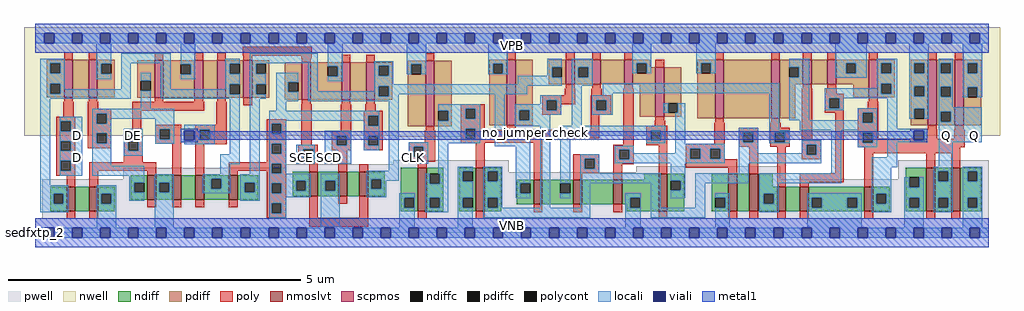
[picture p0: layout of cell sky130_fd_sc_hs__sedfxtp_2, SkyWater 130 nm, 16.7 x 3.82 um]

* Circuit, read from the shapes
.subckt sky130_fd_sc_hs__sedfxtp_2 CLK D DE SCD SCE VGND VNB VPB VPWR Q
XM1 n1 D n2 VNB sky130_fd_pr__nfet_01v8_lvt w=0.42 l=0.15
XM2 VGND DE n1 VNB sky130_fd_pr__nfet_01v8_lvt w=0.42 l=0.15
XM3 VGND DE n3 VNB sky130_fd_pr__nfet_01v8_lvt w=0.42 l=0.15
XM4 n4 n3 VGND VNB sky130_fd_pr__nfet_01v8_lvt w=0.42 l=0.15
XM5 n2 n5 n4 VNB sky130_fd_pr__nfet_01v8_lvt w=0.42 l=0.15
XM6 n6 n7 n2 VNB sky130_fd_pr__nfet_01v8_lvt w=0.42 l=0.15
XM7 VGND SCE n7 VNB sky130_fd_pr__nfet_01v8_lvt w=0.42 l=0.15
XM8 n8 SCD VGND VNB sky130_fd_pr__nfet_01v8_lvt w=0.42 l=0.15
XM9 n6 SCE n8 VNB sky130_fd_pr__nfet_01v8_lvt w=0.42 l=0.15
XM10 n9 CLK VGND VNB sky130_fd_pr__nfet_01v8_lvt w=0.74 l=0.15
XM11 n10 n9 VGND VNB sky130_fd_pr__nfet_01v8_lvt w=0.74 l=0.15
XM12 n11 n9 n6 VNB sky130_fd_pr__nfet_01v8_lvt w=0.42 l=0.15
XM13 n12 n10 n11 VNB sky130_fd_pr__nfet_01v8_lvt w=0.42 l=0.15
XM14 VGND n13 n12 VNB sky130_fd_pr__nfet_01v8_lvt w=0.42 l=0.15
XM15 n13 n11 VGND VNB sky130_fd_pr__nfet_01v8_lvt w=0.64 l=0.15
XM16 n14 n13 VGND VNB sky130_fd_pr__nfet_01v8_lvt w=0.64 l=0.15
XM17 n15 n10 n14 VNB sky130_fd_pr__nfet_01v8_lvt w=0.64 l=0.15
XM18 n16 n9 n15 VNB sky130_fd_pr__nfet_01v8_lvt w=0.42 l=0.15
XM19 VGND n5 n16 VNB sky130_fd_pr__nfet_01v8_lvt w=0.42 l=0.15
XM20 n5 n15 VGND VNB sky130_fd_pr__nfet_01v8_lvt w=0.42 l=0.15
XM21 Q n15 VGND VNB sky130_fd_pr__nfet_01v8_lvt w=0.74 l=0.15 m=2
XM22 n17 D n2 VPB sky130_fd_pr__pfet_01v8 w=0.64 l=0.15
XM23 VPWR n3 n17 VPB sky130_fd_pr__pfet_01v8 w=0.64 l=0.15
XM24 VPWR DE n3 VPB sky130_fd_pr__pfet_01v8 w=0.64 l=0.15
XM25 n18 DE VPWR VPB sky130_fd_pr__pfet_01v8 w=0.64 l=0.15
XM26 n2 n5 n18 VPB sky130_fd_pr__pfet_01v8 w=0.64 l=0.15
XM27 n6 SCE n2 VPB sky130_fd_pr__pfet_01v8 w=0.64 l=0.15
XM28 VPWR SCE n7 VPB sky130_fd_pr__pfet_01v8 w=0.64 l=0.15
XM29 n19 SCD VPWR VPB sky130_fd_pr__pfet_01v8 w=0.64 l=0.15
XM30 n6 n7 n19 VPB sky130_fd_pr__pfet_01v8 w=0.64 l=0.15
XM31 n9 CLK VPWR VPB sky130_fd_pr__pfet_01v8 w=1.12 l=0.15
XM32 n10 n9 VPWR VPB sky130_fd_pr__pfet_01v8 w=1.12 l=0.15
XM33 n11 n10 n6 VPB sky130_fd_pr__pfet_01v8 w=0.42 l=0.15
XM34 n20 n9 n11 VPB sky130_fd_pr__pfet_01v8 w=0.42 l=0.15
XM35 VPWR n13 n20 VPB sky130_fd_pr__pfet_01v8 w=0.42 l=0.15
XM36 n13 n11 VPWR VPB sky130_fd_pr__pfet_01v8 w=0.84 l=0.15
XM37 n21 n13 VPWR VPB sky130_fd_pr__pfet_01v8 w=1 l=0.15
XM38 n15 n9 n21 VPB sky130_fd_pr__pfet_01v8 w=1 l=0.15
XM39 n22 n10 n15 VPB sky130_fd_pr__pfet_01v8 w=0.42 l=0.15
XM40 VPWR n5 n22 VPB sky130_fd_pr__pfet_01v8 w=0.42 l=0.15
XM41 n5 n15 VPWR VPB sky130_fd_pr__pfet_01v8 w=0.64 l=0.15
XM42 Q n15 VPWR VPB sky130_fd_pr__pfet_01v8 w=1.12 l=0.15 m=2
.ends

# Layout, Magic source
magic
tech sky130A
magscale 1 2
<< nwell >>
rect -38 332 3302 704
rect 1240 328 1461 332
<< pwell >>
rect 1225 235 1621 248
rect 855 223 1621 235
rect 301 207 1621 223
rect 2058 207 2550 228
rect 301 184 2550 207
rect 2953 184 3263 248
rect 25 49 3263 184
rect 0 0 3264 49
<< scpmos >>
rect 99 464 129 592
rect 183 464 213 592
rect 409 463 439 591
rect 545 463 575 591
rect 623 463 653 591
rect 713 463 743 591
rect 913 455 943 583
rect 1049 455 1079 583
rect 1133 455 1163 583
rect 1336 364 1366 588
rect 1614 368 1644 592
rect 1816 508 1846 592
rect 1906 508 1936 592
rect 2016 508 2046 592
rect 2123 398 2153 566
rect 2327 392 2357 592
rect 2519 392 2549 592
rect 2627 508 2657 592
rect 2711 508 2741 592
rect 2853 464 2883 592
rect 3055 368 3085 592
rect 3148 368 3178 592
<< nmoslvt >>
rect 108 74 138 158
rect 186 74 216 158
rect 384 113 414 197
rect 470 113 500 197
rect 548 113 578 197
rect 663 113 693 197
rect 938 125 968 209
rect 1038 125 1068 209
rect 1110 125 1140 209
rect 1310 74 1340 222
rect 1508 74 1538 222
rect 1706 97 1736 181
rect 1842 97 1872 181
rect 1979 97 2009 181
rect 2134 74 2164 202
rect 2372 74 2402 202
rect 2444 74 2474 202
rect 2539 74 2569 158
rect 2617 74 2647 158
rect 2838 74 2868 158
rect 3050 74 3080 222
rect 3136 74 3166 222
<< ndiff >>
rect 327 172 384 197
rect 51 133 108 158
rect 51 99 63 133
rect 97 99 108 133
rect 51 74 108 99
rect 138 74 186 158
rect 216 133 273 158
rect 216 99 227 133
rect 261 99 273 133
rect 327 138 339 172
rect 373 138 384 172
rect 327 113 384 138
rect 414 172 470 197
rect 414 138 425 172
rect 459 138 470 172
rect 414 113 470 138
rect 500 113 548 197
rect 578 185 663 197
rect 578 151 603 185
rect 637 151 663 185
rect 578 113 663 151
rect 693 172 764 197
rect 693 138 718 172
rect 752 138 764 172
rect 693 113 764 138
rect 216 74 273 99
rect 881 178 938 209
rect 881 144 893 178
rect 927 144 938 178
rect 881 125 938 144
rect 968 178 1038 209
rect 968 144 993 178
rect 1027 144 1038 178
rect 968 125 1038 144
rect 1068 125 1110 209
rect 1140 184 1197 209
rect 1140 150 1151 184
rect 1185 150 1197 184
rect 1140 125 1197 150
rect 1251 120 1310 222
rect 1251 86 1264 120
rect 1298 86 1310 120
rect 1251 74 1310 86
rect 1340 202 1397 222
rect 1340 168 1351 202
rect 1385 168 1397 202
rect 1340 120 1397 168
rect 1340 86 1351 120
rect 1385 86 1397 120
rect 1340 74 1397 86
rect 1451 210 1508 222
rect 1451 176 1463 210
rect 1497 176 1508 210
rect 1451 120 1508 176
rect 1451 86 1463 120
rect 1497 86 1508 120
rect 1451 74 1508 86
rect 1538 210 1595 222
rect 1538 176 1549 210
rect 1583 176 1595 210
rect 2084 181 2134 202
rect 1538 120 1595 176
rect 1538 86 1549 120
rect 1583 86 1595 120
rect 1649 169 1706 181
rect 1649 135 1661 169
rect 1695 135 1706 169
rect 1649 97 1706 135
rect 1736 169 1842 181
rect 1736 135 1797 169
rect 1831 135 1842 169
rect 1736 97 1842 135
rect 1872 97 1979 181
rect 2009 120 2134 181
rect 2009 97 2037 120
rect 1538 74 1595 86
rect 2024 86 2037 97
rect 2071 86 2134 120
rect 2024 74 2134 86
rect 2164 179 2221 202
rect 2164 145 2175 179
rect 2209 145 2221 179
rect 2164 74 2221 145
rect 2315 120 2372 202
rect 2315 86 2327 120
rect 2361 86 2372 120
rect 2315 74 2372 86
rect 2402 74 2444 202
rect 2474 158 2524 202
rect 2979 190 3050 222
rect 2474 133 2539 158
rect 2474 99 2494 133
rect 2528 99 2539 133
rect 2474 74 2539 99
rect 2569 74 2617 158
rect 2647 120 2838 158
rect 2647 86 2658 120
rect 2692 86 2779 120
rect 2813 86 2838 120
rect 2647 74 2838 86
rect 2868 133 2925 158
rect 2868 99 2879 133
rect 2913 99 2925 133
rect 2868 74 2925 99
rect 2979 156 2991 190
rect 3025 156 3050 190
rect 2979 120 3050 156
rect 2979 86 2991 120
rect 3025 86 3050 120
rect 2979 74 3050 86
rect 3080 210 3136 222
rect 3080 176 3091 210
rect 3125 176 3136 210
rect 3080 120 3136 176
rect 3080 86 3091 120
rect 3125 86 3136 120
rect 3080 74 3136 86
rect 3166 210 3237 222
rect 3166 176 3191 210
rect 3225 176 3237 210
rect 3166 120 3237 176
rect 3166 86 3191 120
rect 3225 86 3237 120
rect 3166 74 3237 86
<< pdiff >>
rect 40 580 99 592
rect 40 546 52 580
rect 86 546 99 580
rect 40 510 99 546
rect 40 476 52 510
rect 86 476 99 510
rect 40 464 99 476
rect 129 464 183 592
rect 213 578 272 592
rect 213 544 226 578
rect 260 544 272 578
rect 213 464 272 544
rect 350 520 409 591
rect 350 486 362 520
rect 396 486 409 520
rect 350 463 409 486
rect 439 577 545 591
rect 439 543 498 577
rect 532 543 545 577
rect 439 463 545 543
rect 575 463 623 591
rect 653 579 713 591
rect 653 545 666 579
rect 700 545 713 579
rect 653 509 713 545
rect 653 475 666 509
rect 700 475 713 509
rect 653 463 713 475
rect 743 579 801 591
rect 743 545 756 579
rect 790 545 801 579
rect 743 509 801 545
rect 743 475 756 509
rect 790 475 801 509
rect 743 463 801 475
rect 855 516 913 583
rect 855 482 866 516
rect 900 482 913 516
rect 855 455 913 482
rect 943 570 1049 583
rect 943 536 1002 570
rect 1036 536 1049 570
rect 943 455 1049 536
rect 1079 455 1133 583
rect 1163 571 1222 583
rect 1163 537 1176 571
rect 1210 537 1222 571
rect 1163 501 1222 537
rect 1163 467 1176 501
rect 1210 467 1222 501
rect 1163 455 1222 467
rect 1276 576 1336 588
rect 1276 542 1288 576
rect 1322 542 1336 576
rect 1276 364 1336 542
rect 1366 417 1425 588
rect 1555 578 1614 592
rect 1555 544 1567 578
rect 1601 544 1614 578
rect 1366 383 1379 417
rect 1413 383 1425 417
rect 1366 364 1425 383
rect 1555 368 1614 544
rect 1644 419 1703 592
rect 1757 567 1816 592
rect 1757 533 1769 567
rect 1803 533 1816 567
rect 1757 508 1816 533
rect 1846 567 1906 592
rect 1846 533 1859 567
rect 1893 533 1906 567
rect 1846 508 1906 533
rect 1936 508 2016 592
rect 2046 580 2105 592
rect 2046 546 2059 580
rect 2093 566 2105 580
rect 2266 580 2327 592
rect 2093 546 2123 566
rect 2046 508 2123 546
rect 1644 385 1657 419
rect 1691 385 1703 419
rect 1644 368 1703 385
rect 2070 398 2123 508
rect 2153 444 2212 566
rect 2153 410 2166 444
rect 2200 410 2212 444
rect 2153 398 2212 410
rect 2266 546 2279 580
rect 2313 546 2327 580
rect 2266 392 2327 546
rect 2357 392 2519 592
rect 2549 567 2627 592
rect 2549 533 2580 567
rect 2614 533 2627 567
rect 2549 508 2627 533
rect 2657 508 2711 592
rect 2741 580 2853 592
rect 2741 546 2775 580
rect 2809 546 2853 580
rect 2741 508 2853 546
rect 2549 392 2602 508
rect 2800 464 2853 508
rect 2883 580 2942 592
rect 2883 546 2896 580
rect 2930 546 2942 580
rect 2883 510 2942 546
rect 2883 476 2896 510
rect 2930 476 2942 510
rect 2883 464 2942 476
rect 2996 580 3055 592
rect 2996 546 3008 580
rect 3042 546 3055 580
rect 2996 501 3055 546
rect 2996 467 3008 501
rect 3042 467 3055 501
rect 2996 424 3055 467
rect 2996 390 3008 424
rect 3042 390 3055 424
rect 2996 368 3055 390
rect 3085 580 3148 592
rect 3085 546 3099 580
rect 3133 546 3148 580
rect 3085 499 3148 546
rect 3085 465 3099 499
rect 3133 465 3148 499
rect 3085 414 3148 465
rect 3085 380 3099 414
rect 3133 380 3148 414
rect 3085 368 3148 380
rect 3178 580 3237 592
rect 3178 546 3191 580
rect 3225 546 3237 580
rect 3178 498 3237 546
rect 3178 464 3191 498
rect 3225 464 3237 498
rect 3178 368 3237 464
<< ndiffc >>
rect 63 99 97 133
rect 227 99 261 133
rect 339 138 373 172
rect 425 138 459 172
rect 603 151 637 185
rect 718 138 752 172
rect 893 144 927 178
rect 993 144 1027 178
rect 1151 150 1185 184
rect 1264 86 1298 120
rect 1351 168 1385 202
rect 1351 86 1385 120
rect 1463 176 1497 210
rect 1463 86 1497 120
rect 1549 176 1583 210
rect 1549 86 1583 120
rect 1661 135 1695 169
rect 1797 135 1831 169
rect 2037 86 2071 120
rect 2175 145 2209 179
rect 2327 86 2361 120
rect 2494 99 2528 133
rect 2658 86 2692 120
rect 2779 86 2813 120
rect 2879 99 2913 133
rect 2991 156 3025 190
rect 2991 86 3025 120
rect 3091 176 3125 210
rect 3091 86 3125 120
rect 3191 176 3225 210
rect 3191 86 3225 120
<< pdiffc >>
rect 52 546 86 580
rect 52 476 86 510
rect 226 544 260 578
rect 362 486 396 520
rect 498 543 532 577
rect 666 545 700 579
rect 666 475 700 509
rect 756 545 790 579
rect 756 475 790 509
rect 866 482 900 516
rect 1002 536 1036 570
rect 1176 537 1210 571
rect 1176 467 1210 501
rect 1288 542 1322 576
rect 1567 544 1601 578
rect 1379 383 1413 417
rect 1769 533 1803 567
rect 1859 533 1893 567
rect 2059 546 2093 580
rect 1657 385 1691 419
rect 2166 410 2200 444
rect 2279 546 2313 580
rect 2580 533 2614 567
rect 2775 546 2809 580
rect 2896 546 2930 580
rect 2896 476 2930 510
rect 3008 546 3042 580
rect 3008 467 3042 501
rect 3008 390 3042 424
rect 3099 546 3133 580
rect 3099 465 3133 499
rect 3099 380 3133 414
rect 3191 546 3225 580
rect 3191 464 3225 498
<< poly >>
rect 99 592 129 618
rect 183 592 213 618
rect 409 591 439 617
rect 545 591 575 617
rect 623 591 653 617
rect 710 606 946 636
rect 713 591 743 606
rect 910 598 946 606
rect 99 449 129 464
rect 183 449 213 464
rect 913 583 943 598
rect 1049 583 1079 609
rect 1133 583 1163 609
rect 1336 588 1366 614
rect 1614 592 1644 618
rect 1816 592 1846 618
rect 1906 592 1936 618
rect 2016 592 2046 618
rect 2327 592 2357 618
rect 2519 592 2549 618
rect 2627 592 2657 618
rect 2711 592 2741 618
rect 2853 592 2883 618
rect 3055 592 3085 618
rect 3148 592 3178 618
rect 96 398 132 449
rect 180 424 216 449
rect 409 448 439 463
rect 545 448 575 463
rect 623 448 653 463
rect 180 408 261 424
rect 72 382 138 398
rect 72 348 88 382
rect 122 348 138 382
rect 72 314 138 348
rect 72 280 88 314
rect 122 280 138 314
rect 180 374 211 408
rect 245 374 261 408
rect 180 340 261 374
rect 180 306 211 340
rect 245 306 261 340
rect 333 418 578 448
rect 333 330 363 418
rect 411 354 500 370
rect 620 369 656 448
rect 713 437 743 463
rect 913 440 943 455
rect 1049 440 1079 455
rect 1133 440 1163 455
rect 180 290 261 306
rect 303 314 369 330
rect 72 246 138 280
rect 72 212 88 246
rect 122 212 138 246
rect 303 280 319 314
rect 353 280 369 314
rect 411 320 427 354
rect 461 320 500 354
rect 411 304 500 320
rect 303 242 369 280
rect 72 196 138 212
rect 108 158 138 196
rect 186 212 414 242
rect 186 158 216 212
rect 384 197 414 212
rect 470 197 500 304
rect 548 353 656 369
rect 548 319 564 353
rect 598 319 656 353
rect 548 303 656 319
rect 793 373 859 389
rect 793 339 809 373
rect 843 339 859 373
rect 793 305 859 339
rect 548 197 578 303
rect 793 271 809 305
rect 843 271 859 305
rect 910 302 946 440
rect 1046 349 1082 440
rect 1130 417 1166 440
rect 1016 333 1082 349
rect 793 242 859 271
rect 663 237 859 242
rect 663 212 809 237
rect 663 197 693 212
rect 793 203 809 212
rect 843 203 859 237
rect 901 286 968 302
rect 901 252 917 286
rect 951 252 968 286
rect 1016 299 1032 333
rect 1066 299 1082 333
rect 1016 283 1082 299
rect 1124 401 1190 417
rect 1124 367 1140 401
rect 1174 367 1190 401
rect 1124 333 1190 367
rect 1457 424 1538 440
rect 1457 390 1473 424
rect 1507 390 1538 424
rect 1336 349 1366 364
rect 1457 356 1538 390
rect 2123 566 2153 592
rect 1816 493 1846 508
rect 1906 493 1936 508
rect 2016 493 2046 508
rect 1813 470 1849 493
rect 1903 470 1939 493
rect 1735 454 1849 470
rect 1735 420 1751 454
rect 1785 440 1849 454
rect 1901 454 1971 470
rect 1785 420 1801 440
rect 1735 404 1801 420
rect 1901 420 1921 454
rect 1955 420 1971 454
rect 1901 404 1971 420
rect 1124 299 1140 333
rect 1174 299 1190 333
rect 1333 310 1369 349
rect 1124 283 1190 299
rect 1279 294 1369 310
rect 1457 322 1473 356
rect 1507 353 1538 356
rect 1614 353 1644 368
rect 1901 353 1931 404
rect 1507 323 1931 353
rect 1507 322 1736 323
rect 1457 309 1736 322
rect 1457 306 1538 309
rect 901 236 968 252
rect 938 209 968 236
rect 1038 209 1068 283
rect 1279 260 1295 294
rect 1329 260 1369 294
rect 1279 244 1369 260
rect 1110 209 1140 235
rect 1310 222 1340 244
rect 1508 222 1538 306
rect 793 169 859 203
rect 793 135 809 169
rect 843 135 859 169
rect 384 87 414 113
rect 470 87 500 113
rect 548 87 578 113
rect 663 87 693 113
rect 793 101 859 135
rect 108 48 138 74
rect 186 48 216 74
rect 793 67 809 101
rect 843 67 859 101
rect 793 51 859 67
rect 938 51 968 125
rect 1038 99 1068 125
rect 1110 51 1140 125
rect 1706 181 1736 309
rect 2013 301 2049 493
rect 2123 383 2153 398
rect 2627 493 2657 508
rect 2711 493 2741 508
rect 2120 366 2156 383
rect 2327 377 2357 392
rect 2519 377 2549 392
rect 1979 285 2049 301
rect 2091 350 2164 366
rect 2091 316 2107 350
rect 2141 316 2164 350
rect 2091 300 2164 316
rect 2324 304 2360 377
rect 2516 360 2552 377
rect 1842 253 1931 269
rect 1842 219 1881 253
rect 1915 219 1931 253
rect 1842 203 1931 219
rect 1979 251 1999 285
rect 2033 251 2049 285
rect 1979 235 2049 251
rect 1842 181 1872 203
rect 1979 181 2009 235
rect 2134 202 2164 300
rect 2226 288 2360 304
rect 2408 344 2474 360
rect 2408 310 2424 344
rect 2458 310 2474 344
rect 2408 294 2474 310
rect 2516 344 2582 360
rect 2516 310 2532 344
rect 2566 310 2582 344
rect 2516 294 2582 310
rect 2624 317 2660 493
rect 2708 476 2744 493
rect 2702 460 2768 476
rect 2702 426 2718 460
rect 2752 426 2768 460
rect 2853 449 2883 464
rect 2850 426 2886 449
rect 2702 410 2768 426
rect 2624 301 2690 317
rect 2226 254 2242 288
rect 2276 254 2310 288
rect 2344 254 2360 288
rect 2226 252 2360 254
rect 2226 222 2402 252
rect 2372 202 2402 222
rect 2444 202 2474 294
rect 938 21 1140 51
rect 1310 48 1340 74
rect 1508 48 1538 74
rect 1706 71 1736 97
rect 1842 71 1872 97
rect 1979 71 2009 97
rect 2539 158 2569 294
rect 2624 267 2640 301
rect 2674 267 2690 301
rect 2624 251 2690 267
rect 2738 203 2768 410
rect 2816 410 2886 426
rect 2816 376 2832 410
rect 2866 376 2886 410
rect 2816 342 2886 376
rect 3055 353 3085 368
rect 3148 353 3178 368
rect 2816 308 2832 342
rect 2866 322 2886 342
rect 3052 322 3088 353
rect 3145 322 3181 353
rect 2866 308 3181 322
rect 2816 292 3181 308
rect 2617 173 2768 203
rect 2838 272 3166 292
rect 2617 158 2647 173
rect 2838 158 2868 272
rect 3050 222 3080 272
rect 3136 222 3166 272
rect 2134 48 2164 74
rect 2372 48 2402 74
rect 2444 48 2474 74
rect 2539 48 2569 74
rect 2617 48 2647 74
rect 2838 48 2868 74
rect 3050 48 3080 74
rect 3136 48 3166 74
<< polycont >>
rect 88 348 122 382
rect 88 280 122 314
rect 211 374 245 408
rect 211 306 245 340
rect 88 212 122 246
rect 319 280 353 314
rect 427 320 461 354
rect 564 319 598 353
rect 809 339 843 373
rect 809 271 843 305
rect 809 203 843 237
rect 917 252 951 286
rect 1032 299 1066 333
rect 1140 367 1174 401
rect 1473 390 1507 424
rect 1751 420 1785 454
rect 1921 420 1955 454
rect 1140 299 1174 333
rect 1473 322 1507 356
rect 1295 260 1329 294
rect 809 135 843 169
rect 809 67 843 101
rect 2107 316 2141 350
rect 1881 219 1915 253
rect 1999 251 2033 285
rect 2424 310 2458 344
rect 2532 310 2566 344
rect 2718 426 2752 460
rect 2242 254 2276 288
rect 2310 254 2344 288
rect 2640 267 2674 301
rect 2832 376 2866 410
rect 2832 308 2866 342
<< locali >>
rect 0 649 31 683
rect 65 649 127 683
rect 161 649 223 683
rect 257 649 319 683
rect 353 649 415 683
rect 449 649 511 683
rect 545 649 607 683
rect 641 649 703 683
rect 737 649 799 683
rect 833 649 895 683
rect 929 649 991 683
rect 1025 649 1087 683
rect 1121 649 1183 683
rect 1217 649 1279 683
rect 1313 649 1375 683
rect 1409 649 1471 683
rect 1505 649 1567 683
rect 1601 649 1663 683
rect 1697 649 1759 683
rect 1793 649 1855 683
rect 1889 649 1951 683
rect 1985 649 2047 683
rect 2081 649 2143 683
rect 2177 649 2239 683
rect 2273 649 2335 683
rect 2369 649 2431 683
rect 2465 649 2527 683
rect 2561 649 2623 683
rect 2657 649 2719 683
rect 2753 649 2815 683
rect 2849 649 2911 683
rect 2945 649 3007 683
rect 3041 649 3103 683
rect 3137 649 3199 683
rect 3233 649 3264 683
rect 17 580 102 596
rect 17 546 52 580
rect 86 546 102 580
rect 17 510 102 546
rect 210 578 260 649
rect 210 544 226 578
rect 210 526 260 544
rect 294 581 464 615
rect 17 476 52 510
rect 86 492 102 510
rect 294 492 328 581
rect 86 476 328 492
rect 17 458 328 476
rect 362 520 396 547
rect 17 162 51 458
rect 362 424 396 486
rect 430 492 464 581
rect 498 577 548 649
rect 532 543 548 577
rect 498 526 548 543
rect 650 579 700 595
rect 650 545 666 579
rect 650 509 700 545
rect 650 492 666 509
rect 430 475 666 492
rect 430 458 700 475
rect 195 408 477 424
rect 85 382 161 398
rect 85 348 88 382
rect 122 348 161 382
rect 85 314 161 348
rect 85 280 88 314
rect 122 280 161 314
rect 85 246 161 280
rect 85 212 88 246
rect 122 212 161 246
rect 85 196 161 212
rect 195 374 211 408
rect 245 390 477 408
rect 245 374 261 390
rect 195 340 261 374
rect 195 306 211 340
rect 245 306 261 340
rect 195 230 261 306
rect 303 314 369 356
rect 303 280 319 314
rect 353 280 369 314
rect 411 354 477 390
rect 411 320 427 354
rect 461 320 477 354
rect 411 304 477 320
rect 511 353 614 369
rect 511 350 564 353
rect 545 319 564 350
rect 598 319 614 353
rect 545 316 614 319
rect 511 303 614 316
rect 303 264 369 280
rect 666 269 700 458
rect 634 235 700 269
rect 734 581 968 615
rect 734 579 790 581
rect 734 545 756 579
rect 734 509 790 545
rect 734 475 756 509
rect 734 459 790 475
rect 825 516 900 547
rect 825 482 866 516
rect 195 196 373 230
rect 634 201 668 235
rect 734 201 768 459
rect 825 451 900 482
rect 934 485 968 581
rect 1002 570 1052 649
rect 1036 536 1052 570
rect 1002 519 1052 536
rect 1160 571 1226 587
rect 1160 537 1176 571
rect 1210 537 1226 571
rect 1272 576 1339 649
rect 1272 542 1288 576
rect 1322 542 1339 576
rect 1551 578 1617 649
rect 1551 544 1567 578
rect 1601 544 1617 578
rect 1551 542 1617 544
rect 1753 567 1803 596
rect 1753 538 1769 567
rect 1160 508 1226 537
rect 1651 533 1769 538
rect 1651 508 1803 533
rect 1160 504 1803 508
rect 1837 567 1909 596
rect 1837 533 1859 567
rect 1893 533 1909 567
rect 2043 580 2109 649
rect 2043 546 2059 580
rect 2093 546 2109 580
rect 2262 580 2330 649
rect 2262 546 2279 580
rect 2313 546 2330 580
rect 2580 567 2650 596
rect 1837 504 1909 533
rect 2614 533 2650 567
rect 1160 501 1685 504
rect 1160 485 1176 501
rect 934 467 1176 485
rect 1210 474 1685 501
rect 1210 467 1245 474
rect 934 451 1245 467
rect 825 417 859 451
rect 323 172 373 196
rect 17 133 113 162
rect 17 99 63 133
rect 97 99 113 133
rect 17 70 113 99
rect 211 133 277 162
rect 211 99 227 133
rect 261 99 277 133
rect 323 138 339 172
rect 323 109 373 138
rect 409 172 475 201
rect 409 138 425 172
rect 459 138 475 172
rect 211 17 277 99
rect 409 17 475 138
rect 573 185 668 201
rect 573 151 603 185
rect 637 151 668 185
rect 573 135 668 151
rect 702 172 768 201
rect 702 138 718 172
rect 752 138 768 172
rect 702 109 768 138
rect 802 401 1177 417
rect 802 383 1140 401
rect 802 373 859 383
rect 802 339 809 373
rect 843 339 859 373
rect 1124 367 1140 383
rect 1174 367 1177 401
rect 802 305 859 339
rect 802 271 809 305
rect 843 271 859 305
rect 991 333 1082 349
rect 802 237 859 271
rect 802 203 809 237
rect 843 203 859 237
rect 893 286 957 302
rect 893 252 917 286
rect 951 252 957 286
rect 893 236 957 252
rect 991 299 1032 333
rect 1066 299 1082 333
rect 991 236 1082 299
rect 1124 333 1177 367
rect 1124 299 1140 333
rect 1174 299 1177 333
rect 1124 283 1177 299
rect 1211 213 1245 451
rect 1379 424 1523 440
rect 1379 417 1473 424
rect 1413 390 1473 417
rect 1507 390 1523 424
rect 1413 383 1523 390
rect 1379 356 1523 383
rect 1379 322 1473 356
rect 1507 322 1523 356
rect 1279 294 1345 310
rect 1279 260 1295 294
rect 1329 260 1345 294
rect 1279 236 1345 260
rect 1379 306 1523 322
rect 1573 330 1607 474
rect 1729 454 1801 470
rect 1729 440 1751 454
rect 1641 420 1751 440
rect 1785 420 1801 454
rect 1641 419 1801 420
rect 1641 385 1657 419
rect 1691 404 1801 419
rect 1691 385 1763 404
rect 1641 364 1763 385
rect 1837 366 1871 504
rect 1943 478 2546 512
rect 1943 470 1977 478
rect 1905 454 1977 470
rect 1905 420 1921 454
rect 1955 420 1977 454
rect 1905 404 1977 420
rect 2150 410 2166 444
rect 2200 410 2225 444
rect 802 202 859 203
rect 802 178 943 202
rect 802 169 893 178
rect 802 135 809 169
rect 843 144 893 169
rect 927 144 943 178
rect 843 135 943 144
rect 802 121 943 135
rect 977 178 1043 202
rect 977 144 993 178
rect 1027 144 1043 178
rect 802 101 859 121
rect 802 67 809 101
rect 843 67 859 101
rect 802 51 859 67
rect 977 17 1043 144
rect 1135 184 1245 213
rect 1379 202 1413 306
rect 1573 296 1695 330
rect 1135 150 1151 184
rect 1185 179 1245 184
rect 1185 150 1201 179
rect 1135 121 1201 150
rect 1335 168 1351 202
rect 1385 168 1413 202
rect 1247 120 1299 136
rect 1247 86 1264 120
rect 1298 86 1299 120
rect 1247 17 1299 86
rect 1335 120 1413 168
rect 1335 86 1351 120
rect 1385 86 1413 120
rect 1335 70 1413 86
rect 1447 210 1497 226
rect 1447 176 1463 210
rect 1447 120 1497 176
rect 1447 86 1463 120
rect 1447 17 1497 86
rect 1533 210 1599 226
rect 1533 176 1549 210
rect 1583 176 1599 210
rect 1533 120 1599 176
rect 1533 86 1549 120
rect 1583 86 1599 120
rect 1645 169 1695 296
rect 1645 135 1661 169
rect 1645 119 1695 135
rect 1533 85 1599 86
rect 1729 85 1763 364
rect 1797 350 2157 366
rect 1797 332 2107 350
rect 1797 169 1831 332
rect 2091 316 2107 332
rect 2141 316 2157 350
rect 2091 306 2157 316
rect 2191 304 2225 410
rect 2408 344 2474 360
rect 2408 310 2424 344
rect 2458 310 2474 344
rect 1983 285 2049 298
rect 1797 119 1831 135
rect 1865 253 1931 269
rect 1865 219 1881 253
rect 1915 219 1931 253
rect 1983 251 1999 285
rect 2033 272 2049 285
rect 2191 288 2360 304
rect 2191 272 2242 288
rect 2033 254 2242 272
rect 2276 254 2310 288
rect 2344 254 2360 288
rect 2033 251 2360 254
rect 1983 238 2360 251
rect 2408 272 2474 310
rect 2512 351 2546 478
rect 2580 385 2650 533
rect 2738 580 2846 649
rect 2738 546 2775 580
rect 2809 546 2846 580
rect 2738 530 2846 546
rect 2880 580 2950 596
rect 2880 546 2896 580
rect 2930 546 2950 580
rect 2880 510 2950 546
rect 2880 494 2896 510
rect 2702 476 2896 494
rect 2930 476 2950 510
rect 2702 460 2950 476
rect 2702 426 2718 460
rect 2752 426 2768 460
rect 2702 419 2768 426
rect 2816 410 2882 426
rect 2816 385 2832 410
rect 2616 376 2832 385
rect 2866 376 2882 410
rect 2616 351 2882 376
rect 2512 344 2582 351
rect 2512 310 2532 344
rect 2566 310 2582 344
rect 2512 306 2582 310
rect 2624 301 2690 317
rect 2624 272 2640 301
rect 2408 267 2640 272
rect 2674 267 2690 301
rect 2408 238 2690 267
rect 1865 204 1931 219
rect 1865 170 2141 204
rect 1865 85 1899 170
rect 1533 51 1899 85
rect 2020 120 2073 136
rect 2020 86 2037 120
rect 2071 86 2073 120
rect 2020 17 2073 86
rect 2107 85 2141 170
rect 2175 179 2225 238
rect 2408 204 2442 238
rect 2724 204 2758 351
rect 2816 342 2882 351
rect 2816 308 2832 342
rect 2866 308 2882 342
rect 2816 292 2882 308
rect 2916 356 2950 460
rect 2992 580 3058 649
rect 2992 546 3008 580
rect 3042 546 3058 580
rect 2992 501 3058 546
rect 2992 467 3008 501
rect 3042 467 3058 501
rect 2992 424 3058 467
rect 2992 390 3008 424
rect 3042 390 3058 424
rect 3092 580 3141 596
rect 3092 546 3099 580
rect 3133 546 3141 580
rect 3092 499 3141 546
rect 3092 465 3099 499
rect 3133 465 3141 499
rect 3092 430 3141 465
rect 3175 580 3241 649
rect 3175 546 3191 580
rect 3225 546 3241 580
rect 3175 498 3241 546
rect 3175 464 3191 498
rect 3225 464 3241 498
rect 3092 414 3239 430
rect 3092 380 3099 414
rect 3133 380 3239 414
rect 2916 350 3047 356
rect 2916 316 3007 350
rect 3041 316 3047 350
rect 2916 310 3047 316
rect 3092 310 3239 380
rect 2916 258 2950 310
rect 2209 145 2225 179
rect 2175 119 2225 145
rect 2259 170 2442 204
rect 2478 170 2758 204
rect 2863 224 2950 258
rect 3092 226 3141 310
rect 2259 85 2293 170
rect 2107 51 2293 85
rect 2327 120 2377 136
rect 2361 86 2377 120
rect 2327 17 2377 86
rect 2478 133 2544 170
rect 2478 99 2494 133
rect 2528 99 2544 133
rect 2478 70 2544 99
rect 2642 120 2829 136
rect 2642 86 2658 120
rect 2692 86 2779 120
rect 2813 86 2829 120
rect 2642 17 2829 86
rect 2863 133 2929 224
rect 3075 210 3141 226
rect 2863 99 2879 133
rect 2913 99 2929 133
rect 2863 70 2929 99
rect 2975 156 2991 190
rect 3025 156 3041 190
rect 2975 120 3041 156
rect 2975 86 2991 120
rect 3025 86 3041 120
rect 2975 17 3041 86
rect 3075 176 3091 210
rect 3125 176 3141 210
rect 3075 120 3141 176
rect 3075 86 3091 120
rect 3125 86 3141 120
rect 3075 70 3141 86
rect 3175 210 3241 226
rect 3175 176 3191 210
rect 3225 176 3241 210
rect 3175 120 3241 176
rect 3175 86 3191 120
rect 3225 86 3241 120
rect 3175 17 3241 86
rect 0 -17 31 17
rect 65 -17 127 17
rect 161 -17 223 17
rect 257 -17 319 17
rect 353 -17 415 17
rect 449 -17 511 17
rect 545 -17 607 17
rect 641 -17 703 17
rect 737 -17 799 17
rect 833 -17 895 17
rect 929 -17 991 17
rect 1025 -17 1087 17
rect 1121 -17 1183 17
rect 1217 -17 1279 17
rect 1313 -17 1375 17
rect 1409 -17 1471 17
rect 1505 -17 1567 17
rect 1601 -17 1663 17
rect 1697 -17 1759 17
rect 1793 -17 1855 17
rect 1889 -17 1951 17
rect 1985 -17 2047 17
rect 2081 -17 2143 17
rect 2177 -17 2239 17
rect 2273 -17 2335 17
rect 2369 -17 2431 17
rect 2465 -17 2527 17
rect 2561 -17 2623 17
rect 2657 -17 2719 17
rect 2753 -17 2815 17
rect 2849 -17 2911 17
rect 2945 -17 3007 17
rect 3041 -17 3103 17
rect 3137 -17 3199 17
rect 3233 -17 3264 17
<< viali >>
rect 31 649 65 683
rect 127 649 161 683
rect 223 649 257 683
rect 319 649 353 683
rect 415 649 449 683
rect 511 649 545 683
rect 607 649 641 683
rect 703 649 737 683
rect 799 649 833 683
rect 895 649 929 683
rect 991 649 1025 683
rect 1087 649 1121 683
rect 1183 649 1217 683
rect 1279 649 1313 683
rect 1375 649 1409 683
rect 1471 649 1505 683
rect 1567 649 1601 683
rect 1663 649 1697 683
rect 1759 649 1793 683
rect 1855 649 1889 683
rect 1951 649 1985 683
rect 2047 649 2081 683
rect 2143 649 2177 683
rect 2239 649 2273 683
rect 2335 649 2369 683
rect 2431 649 2465 683
rect 2527 649 2561 683
rect 2623 649 2657 683
rect 2719 649 2753 683
rect 2815 649 2849 683
rect 2911 649 2945 683
rect 3007 649 3041 683
rect 3103 649 3137 683
rect 3199 649 3233 683
rect 511 316 545 350
rect 3007 316 3041 350
rect 31 -17 65 17
rect 127 -17 161 17
rect 223 -17 257 17
rect 319 -17 353 17
rect 415 -17 449 17
rect 511 -17 545 17
rect 607 -17 641 17
rect 703 -17 737 17
rect 799 -17 833 17
rect 895 -17 929 17
rect 991 -17 1025 17
rect 1087 -17 1121 17
rect 1183 -17 1217 17
rect 1279 -17 1313 17
rect 1375 -17 1409 17
rect 1471 -17 1505 17
rect 1567 -17 1601 17
rect 1663 -17 1697 17
rect 1759 -17 1793 17
rect 1855 -17 1889 17
rect 1951 -17 1985 17
rect 2047 -17 2081 17
rect 2143 -17 2177 17
rect 2239 -17 2273 17
rect 2335 -17 2369 17
rect 2431 -17 2465 17
rect 2527 -17 2561 17
rect 2623 -17 2657 17
rect 2719 -17 2753 17
rect 2815 -17 2849 17
rect 2911 -17 2945 17
rect 3007 -17 3041 17
rect 3103 -17 3137 17
rect 3199 -17 3233 17
<< metal1 >>
rect 0 683 3264 715
rect 0 649 31 683
rect 65 649 127 683
rect 161 649 223 683
rect 257 649 319 683
rect 353 649 415 683
rect 449 649 511 683
rect 545 649 607 683
rect 641 649 703 683
rect 737 649 799 683
rect 833 649 895 683
rect 929 649 991 683
rect 1025 649 1087 683
rect 1121 649 1183 683
rect 1217 649 1279 683
rect 1313 649 1375 683
rect 1409 649 1471 683
rect 1505 649 1567 683
rect 1601 649 1663 683
rect 1697 649 1759 683
rect 1793 649 1855 683
rect 1889 649 1951 683
rect 1985 649 2047 683
rect 2081 649 2143 683
rect 2177 649 2239 683
rect 2273 649 2335 683
rect 2369 649 2431 683
rect 2465 649 2527 683
rect 2561 649 2623 683
rect 2657 649 2719 683
rect 2753 649 2815 683
rect 2849 649 2911 683
rect 2945 649 3007 683
rect 3041 649 3103 683
rect 3137 649 3199 683
rect 3233 649 3264 683
rect 0 617 3264 649
rect 499 350 557 356
rect 499 316 511 350
rect 545 347 557 350
rect 2995 350 3053 356
rect 2995 347 3007 350
rect 545 319 3007 347
rect 545 316 557 319
rect 499 310 557 316
rect 2995 316 3007 319
rect 3041 316 3053 350
rect 2995 310 3053 316
rect 0 17 3264 49
rect 0 -17 31 17
rect 65 -17 127 17
rect 161 -17 223 17
rect 257 -17 319 17
rect 353 -17 415 17
rect 449 -17 511 17
rect 545 -17 607 17
rect 641 -17 703 17
rect 737 -17 799 17
rect 833 -17 895 17
rect 929 -17 991 17
rect 1025 -17 1087 17
rect 1121 -17 1183 17
rect 1217 -17 1279 17
rect 1313 -17 1375 17
rect 1409 -17 1471 17
rect 1505 -17 1567 17
rect 1601 -17 1663 17
rect 1697 -17 1759 17
rect 1793 -17 1855 17
rect 1889 -17 1951 17
rect 1985 -17 2047 17
rect 2081 -17 2143 17
rect 2177 -17 2239 17
rect 2273 -17 2335 17
rect 2369 -17 2431 17
rect 2465 -17 2527 17
rect 2561 -17 2623 17
rect 2657 -17 2719 17
rect 2753 -17 2815 17
rect 2849 -17 2911 17
rect 2945 -17 3007 17
rect 3041 -17 3103 17
rect 3137 -17 3199 17
rect 3233 -17 3264 17
rect 0 -49 3264 -17
<< labels >>
rlabel comment s 0 0 0 0 4 sedfxtp_2
flabel comment s 1711 344 1711 344 0 FreeSans 200 0 0 0 no_jumper_check
flabel pwell s 0 0 3264 49 0 FreeSans 200 0 0 0 VNB
port 7 nsew ground bidirectional
flabel nwell s 0 617 3264 666 0 FreeSans 200 0 0 0 VPB
port 8 nsew power bidirectional
flabel metal1 s 0 617 3264 666 0 FreeSans 340 0 0 0 VPWR
port 9 nsew power bidirectional
flabel metal1 s 0 0 3264 49 0 FreeSans 340 0 0 0 VGND
port 6 nsew ground bidirectional
flabel locali s 895 242 929 276 0 FreeSans 340 0 0 0 SCE
port 5 nsew signal input
flabel locali s 1279 242 1313 276 0 FreeSans 340 0 0 0 CLK
port 1 nsew clock input
flabel locali s 127 242 161 276 0 FreeSans 340 0 0 0 D
port 2 nsew signal input
flabel locali s 127 316 161 350 0 FreeSans 340 0 0 0 D
port 2 nsew signal input
flabel locali s 319 316 353 350 0 FreeSans 340 0 0 0 DE
port 3 nsew signal input
flabel locali s 991 242 1025 276 0 FreeSans 340 0 0 0 SCD
port 4 nsew signal input
flabel locali s 3103 316 3137 350 0 FreeSans 340 0 0 0 Q
port 10 nsew signal output
flabel locali s 3199 316 3233 350 0 FreeSans 340 0 0 0 Q
port 10 nsew signal output
<< properties >>
string LEFsite unit
string LEFclass CORE
string FIXED_BBOX 0 0 3264 666
string GDS_FILE $PDKPATH/libs.ref/sky130_fd_sc_hs/gds/sky130_fd_sc_hs.gds
string LEFsymmetry X Y
string GDS_END 2020032
string GDS_START 1997822
<< end >>
